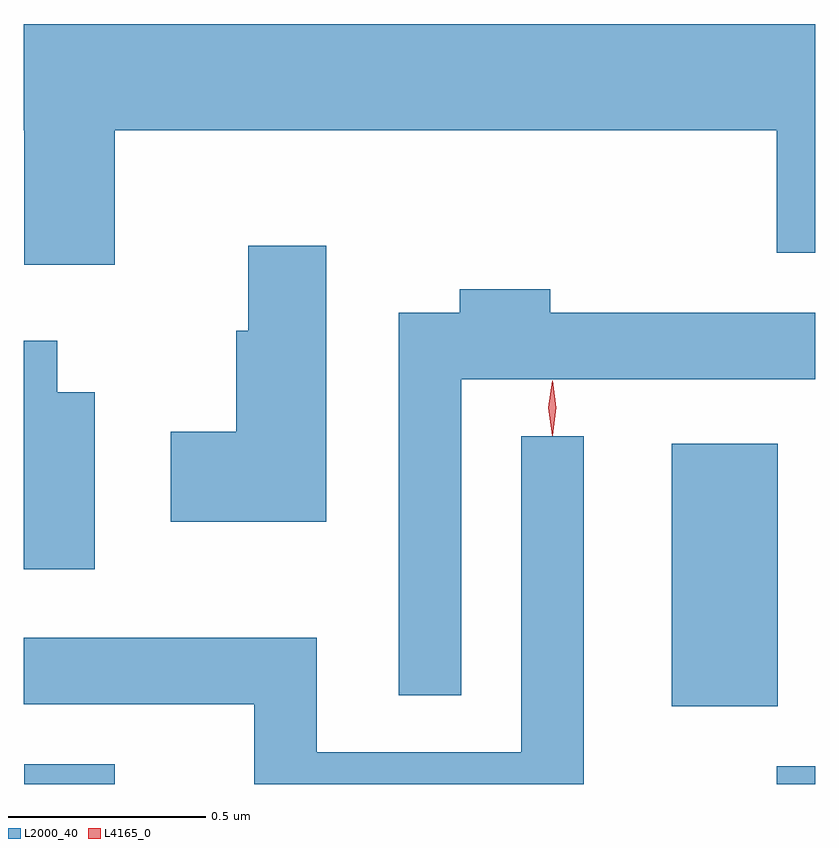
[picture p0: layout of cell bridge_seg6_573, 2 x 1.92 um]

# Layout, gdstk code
import gdstk
lib = gdstk.Library(unit=1e-6, precision=1e-09)
def R(c, l, rs):  # rectangles x0, y0, x1, y1
    for r in rs: c.add(gdstk.rectangle(r[:2], r[2:], *l))
def P(c, l, *ps):  # polygons
    for p in ps: c.add(gdstk.Polygon(p, *l))
L2000_40 = (2000, 40)
L4165_0 = (4165, 0)

bridge_seg6_573 = lib.new_cell('bridge_seg6_573')
R(bridge_seg6_573, L2000_40, [(446.351,1652.724,446.579,1652.774), (448.251,1652.724,448.349,1652.769), (447.986,1652.921,448.254,1653.584)])
P(bridge_seg6_573, L2000_40, [(446.579,1654.376),(448.251,1654.376),(448.251,1654.066),(448.349,1654.066),(448.349,1654.644),(446.349,1654.644),(446.349,1654.376),(446.351,1654.376),(446.351,1654.036),(446.579,1654.036)],
  [(447.114,1654.084),(446.916,1654.084),(446.916,1653.869),(446.886,1653.869),(446.886,1653.614),(446.721,1653.614),(446.721,1653.386),(447.114,1653.386)],
  [(447.454,1653.746),(448.349,1653.746),(448.349,1653.914),(447.679,1653.914),(447.679,1653.974),(447.451,1653.974),(447.451,1653.914),(447.296,1653.914),(447.296,1652.948),(447.454,1652.948)],
  [(446.529,1653.714),(446.434,1653.714),(446.434,1653.844),(446.349,1653.844),(446.349,1653.266),(446.529,1653.266)],
  [(447.764,1653.603),(447.606,1653.603),(447.606,1652.804),(447.089,1652.804),(447.089,1653.094),(446.349,1653.094),(446.349,1652.926),(446.931,1652.926),(446.931,1652.724),(447.764,1652.724)])
P(bridge_seg6_573, L4165_0, [(447.684,1653.604),(447.684,1653.604),(447.674,1653.674),(447.684,1653.743),(447.684,1653.743),(447.685,1653.743),(447.694,1653.674),(447.685,1653.604)])

lib.write_gds('bridge_seg6_573.gds')
